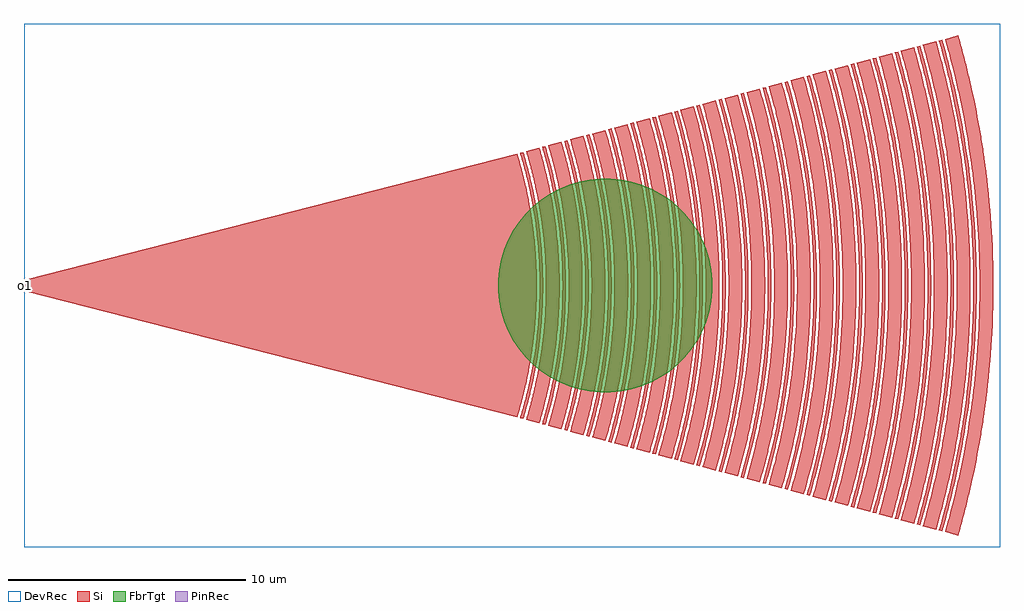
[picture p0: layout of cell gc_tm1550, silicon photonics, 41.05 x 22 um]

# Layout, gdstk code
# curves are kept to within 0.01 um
from math import pi, radians
import gdstk
lib = gdstk.Library(unit=1e-6, precision=1e-09)
def R(c, l, rs):  # rectangles x0, y0, x1, y1
    for r in rs: c.add(gdstk.rectangle(r[:2], r[2:], *l))
def P(c, l, *ps):  # polygons
    for p in ps: c.add(gdstk.Polygon(p, *l))
Si = (1, 0)
PinRec = (1, 10)
DevRec = (68, 0)
FbrTgt = (81, 0)

tm1550_subgc_10degree_ox = lib.new_cell('TM1550_SubGC_10degree_oxide')
P(tm1550_subgc_10degree_ox, Si, [(-20.815,-5.577),(-21.111,-4.487),(-21.352,-3.324),(-21.48,-2.485),(-21.576,-1.584),(-21.627,-0.736),(-21.641,0.057),(-21.781,0.057),(-21.767,-0.741),(-21.72,-1.538),(-21.619,-2.501),(-21.5,-3.29),(-21.274,-4.406),(-20.951,-5.614)],
  [(-21.64,0.113),(-21.627,0.736),(-21.585,1.471),(-21.521,2.148),(-21.425,2.878),(-21.322,3.492),(-21.187,4.157),(-21.015,4.871),(-20.815,5.577),(-20.951,5.614),(-21.151,4.903),(-21.36,4.017),(-21.5,3.29),(-21.619,2.501),(-21.733,1.367),(-21.779,0.285),(-21.781,0.057),(-21.641,0.057)],
  [(-21.069,-5.645),(-21.285,-4.875),(-21.457,-4.151),(-21.581,-3.534),(-21.71,-2.743),(-21.812,-1.889),(-21.863,-1.261),(-21.897,-0.516),(-21.903,0.172),(-22.478,0.172),(-22.473,-0.471),(-22.444,-1.176),(-22.341,-2.348),(-22.159,-3.569),(-21.93,-4.661),(-21.624,-5.794)],
  [(-21.897,0.516),(-21.863,1.261),(-21.812,1.889),(-21.748,2.459),(-21.64,3.195),(-21.407,4.375),(-21.256,4.985),(-21.069,5.645),(-21.624,5.794),(-21.93,4.661),(-22.159,3.569),(-22.341,2.348),(-22.444,1.176),(-22.478,0.172),(-21.903,0.172)],
  [(-21.743,-5.826),(-21.92,-5.202),(-22.077,-4.572),(-22.32,-3.356),(-22.441,-2.537),(-22.538,-1.596),(-22.584,-0.828),(-22.601,0.059),(-22.741,0.059),(-22.724,-0.833),(-22.668,-1.724),(-22.565,-2.671),(-22.439,-3.494),(-22.187,-4.716),(-21.878,-5.862)],
  [(-22.6,0.118),(-22.563,1.242),(-22.507,1.949),(-22.441,2.537),(-22.32,3.356),(-22.154,4.226),(-21.95,5.088),(-21.743,5.826),(-21.878,5.862),(-22.116,5.004),(-22.304,4.194),(-22.459,3.376),(-22.595,2.435),(-22.699,1.309),(-22.741,0.06),(-22.601,0.059)],
  [(-22.552,-6.043),(-22.735,-5.395),(-22.911,-4.682),(-23.062,-3.963),(-23.188,-3.238),(-23.281,-2.57),(-23.378,-1.594),(-23.421,-0.859),(-23.438,-0.184),(-23.433,0.491),(-23.387,1.471),(-23.329,2.144),(-23.233,2.935),(-23.128,3.601),(-22.951,4.503),(-22.766,5.277),(-22.552,6.043),(-21.996,5.894),(-22.16,5.32),(-22.334,4.625),(-22.56,3.513),(-22.654,2.922),(-22.744,2.21),(-22.8,1.614),(-22.844,0.898),(-22.863,0.18),(-22.849,-0.778),(-22.8,-1.614),(-22.702,-2.566),(-22.56,-3.513),(-22.412,-4.275),(-22.25,-4.973),(-21.996,-5.894)],
  [(-22.67,-6.074),(-22.854,-5.423),(-23.031,-4.707),(-23.28,-3.438),(-23.41,-2.522),(-23.505,-1.541),(-23.546,-0.802),(-23.561,0.062),(-23.701,0.062),(-23.686,-0.806),(-23.62,-1.859),(-23.542,-2.599),(-23.398,-3.58),(-23.168,-4.735),(-22.858,-5.933),(-22.805,-6.111)],
  [(-23.56,0.123),(-23.546,0.802),(-23.505,1.541),(-23.395,2.645),(-23.28,3.438),(-23.11,4.346),(-22.885,5.304),(-22.67,6.074),(-22.805,6.111),(-23.037,5.276),(-23.26,4.311),(-23.398,3.58),(-23.542,2.599),(-23.62,1.859),(-23.665,1.24),(-23.701,0.062),(-23.561,0.062)],
  [(-22.923,-6.142),(-23.141,-5.364),(-23.342,-4.516),(-23.497,-3.722),(-23.606,-3.045),(-23.706,-2.241),(-23.767,-1.558),(-23.806,-0.873),(-23.823,0.128),(-24.398,0.128),(-24.391,-0.575),(-24.365,-1.213),(-24.315,-1.914),(-24.243,-2.612),(-24.043,-3.937),(-23.808,-5.061),(-23.479,-6.291)],
  [(-23.823,0.187),(-23.806,0.873),(-23.767,1.558),(-23.706,2.241),(-23.588,3.168),(-23.453,3.967),(-23.288,4.759),(-23.141,5.364),(-22.923,6.142),(-23.479,6.291),(-23.808,5.061),(-23.946,4.438),(-24.098,3.623),(-24.243,2.612),(-24.315,1.914),(-24.365,1.213),(-24.398,0.128),(-23.823,0.128)],
  [(-23.597,-6.323),(-23.788,-5.645),(-23.957,-4.961),(-24.092,-4.335),(-24.24,-3.515),(-24.357,-2.689),(-24.448,-1.795),(-24.503,-0.898),(-24.521,0.064),(-24.661,0.064),(-24.645,-0.839),(-24.593,-1.741),(-24.504,-2.64),(-24.347,-3.726),(-24.094,-4.99),(-23.805,-6.112),(-23.732,-6.359)],
  [(-24.52,0.128),(-24.51,0.706),(-24.472,1.475),(-24.341,2.816),(-24.219,3.641),(-24.04,4.586),(-23.852,5.397),(-23.597,6.323),(-23.732,6.359),(-23.973,5.49),(-24.191,4.549),(-24.347,3.726),(-24.48,2.832),(-24.607,1.548),(-24.64,0.968),(-24.66,0.194),(-24.661,0.064),(-24.521,0.064)],
  [(-23.851,-6.391),(-24.06,-5.643),(-24.257,-4.825),(-24.423,-3.999),(-24.549,-3.232),(-24.655,-2.396),(-24.725,-1.621),(-24.77,-0.778),(-24.783,0.13),(-25.358,0.13),(-25.331,-1.128),(-25.278,-1.923),(-25.22,-2.517),(-25.119,-3.307),(-25.025,-3.896),(-24.762,-5.196),(-24.586,-5.903),(-24.406,-6.54)],
  [(-24.782,0.195),(-24.765,0.908),(-24.725,1.621),(-24.655,2.396),(-24.549,3.232),(-24.423,3.999),(-24.257,4.825),(-24.06,5.643),(-23.851,6.391),(-24.406,6.54),(-24.732,5.325),(-24.89,4.613),(-25.025,3.896),(-25.119,3.307),(-25.22,2.517),(-25.324,1.261),(-25.358,0.13),(-24.783,0.13)],
  [(-24.525,-6.571),(-24.739,-5.802),(-24.912,-5.091),(-25.075,-4.309),(-25.19,-3.652),(-25.327,-2.662),(-25.411,-1.799),(-25.465,-0.867),(-25.481,0.067),(-25.621,0.067),(-25.602,-0.939),(-25.545,-1.876),(-25.442,-2.876),(-25.307,-3.805),(-25.064,-5.054),(-24.753,-6.286),(-24.66,-6.608)],
  [(-25.48,0.133),(-25.465,0.867),(-25.43,1.533),(-25.303,2.861),(-25.19,3.652),(-24.997,4.701),(-24.772,5.674),(-24.525,6.571),(-24.66,6.608),(-24.925,5.64),(-25.148,4.661),(-25.307,3.805),(-25.442,2.876),(-25.57,1.542),(-25.62,0.201),(-25.621,0.067),(-25.481,0.067)],
  [(-24.778,-6.639),(-25.028,-5.732),(-25.213,-4.946),(-25.394,-4.022),(-25.51,-3.291),(-25.603,-2.556),(-25.692,-1.549),(-25.732,-0.741),(-25.743,0.135),(-26.318,0.135),(-26.312,-0.551),(-26.279,-1.377),(-26.16,-2.749),(-25.962,-4.112),(-25.702,-5.393),(-25.537,-6.06),(-25.333,-6.788)],
  [(-25.742,0.202),(-25.727,0.876),(-25.678,1.751),(-25.603,2.556),(-25.491,3.424),(-25.346,4.287),(-25.184,5.078),(-25.028,5.732),(-24.778,6.639),(-25.333,6.788),(-25.537,6.06),(-25.702,5.393),(-25.962,4.112),(-26.16,2.749),(-26.275,1.446),(-26.318,0.135),(-25.743,0.135)],
  [(-25.452,-6.82),(-25.691,-5.955),(-25.837,-5.351),(-25.995,-4.607),(-26.129,-3.858),(-26.257,-2.968),(-26.363,-1.936),(-26.424,-0.9),(-26.441,0.069),(-26.581,0.069),(-26.564,-0.904),(-26.497,-2.016),(-26.396,-2.984),(-26.256,-3.947),(-26.02,-5.176),(-25.702,-6.456),(-25.587,-6.856)],
  [(-26.44,0.138),(-26.429,0.761),(-26.393,1.522),(-26.339,2.212),(-26.257,2.968),(-26.129,3.858),(-25.926,4.946),(-25.708,5.888),(-25.452,6.82),(-25.587,6.856),(-25.861,5.852),(-26.078,4.904),(-26.256,3.947),(-26.396,2.984),(-26.508,1.877),(-26.576,0.487),(-26.581,0.069),(-26.441,0.069)],
  [(-25.705,-6.888),(-25.929,-6.082),(-26.155,-5.131),(-26.318,-4.31),(-26.472,-3.344),(-26.566,-2.581),(-26.655,-1.537),(-26.689,-0.839),(-26.703,0.14),(-27.278,0.14),(-27.249,-1.214),(-27.204,-1.926),(-27.138,-2.637),(-27.052,-3.346),(-26.946,-4.051),(-26.833,-4.683),(-26.673,-5.451),(-26.489,-6.213),(-26.261,-7.037)],
  [(-26.702,0.21),(-26.678,1.118),(-26.619,2.025),(-26.526,2.928),(-26.432,3.621),(-26.318,4.31),(-26.125,5.268),(-25.929,6.082),(-25.705,6.888),(-26.261,7.037),(-26.609,5.729),(-26.898,4.332),(-27.012,3.628),(-27.106,2.921),(-27.229,1.57),(-27.264,0.857),(-27.278,0.14),(-26.703,0.14)],
  [(-26.379,-7.068),(-26.626,-6.172),(-26.793,-5.475),(-26.967,-4.634),(-27.09,-3.928),(-27.228,-2.934),(-27.326,-1.935),(-27.381,-1.004),(-27.401,0.072),(-27.541,0.072),(-27.521,-1.009),(-27.46,-2.017),(-27.35,-3.092),(-27.217,-4.019),(-27.078,-4.799),(-26.946,-5.433),(-26.633,-6.69),(-26.514,-7.104)],
  [(-27.4,0.143),(-27.391,0.717),(-27.351,1.577),(-27.289,2.363),(-27.202,3.147),(-27.067,4.069),(-26.869,5.126),(-26.626,6.172),(-26.379,7.068),(-26.514,7.104),(-26.815,5.994),(-27.021,5.081),(-27.217,4.019),(-27.341,3.163),(-27.471,1.873),(-27.536,0.505),(-27.541,0.072),(-27.401,0.072)],
  [(-26.633,-7.136),(-26.864,-6.301),(-27.097,-5.316),(-27.278,-4.394),(-27.404,-3.608),(-27.529,-2.602),(-27.613,-1.592),(-27.651,-0.797),(-27.663,0.145),(-28.238,0.145),(-28.208,-1.256),(-28.109,-2.583),(-28.034,-3.244),(-27.919,-4.048),(-27.661,-5.427),(-27.442,-6.361),(-27.188,-7.285)],
  [(-27.662,0.217),(-27.637,1.158),(-27.588,1.953),(-27.489,2.962),(-27.383,3.751),(-27.226,4.678),(-27.066,5.457),(-26.864,6.301),(-26.633,7.136),(-27.188,7.285),(-27.405,6.503),(-27.581,5.787),(-27.765,4.921),(-27.871,4.339),(-28.069,2.95),(-28.192,1.551),(-28.238,0.145),(-27.663,0.145)],
  [(-27.306,-7.317),(-27.543,-6.46),(-27.701,-5.812),(-27.871,-5.015),(-28.04,-4.066),(-28.191,-2.963),(-28.289,-1.929),(-28.346,-0.891),(-28.361,0.074),(-28.501,0.074),(-28.483,-0.97),(-28.429,-1.938),(-28.313,-3.126),(-28.167,-4.159),(-27.903,-5.55),(-27.584,-6.852),(-27.442,-7.353)],
  [(-28.36,0.148),(-28.346,0.891),(-28.305,1.706),(-28.231,2.594),(-28.146,3.331),(-27.992,4.358),(-27.797,5.378),(-27.543,6.46),(-27.306,7.317),(-27.442,7.353),(-27.716,6.348),(-27.934,5.405),(-28.155,4.233),(-28.304,3.2),(-28.429,1.938),(-28.496,0.522),(-28.501,0.074),(-28.361,0.074)],
  [(-27.56,-7.385),(-27.817,-6.448),(-28.039,-5.501),(-28.199,-4.694),(-28.377,-3.585),(-28.477,-2.767),(-28.567,-1.722),(-28.613,-0.749),(-28.623,0.15),(-29.198,0.15),(-29.167,-1.299),(-29.065,-2.671),(-28.881,-4.11),(-28.78,-4.713),(-28.587,-5.686),(-28.377,-6.577),(-28.115,-7.533)],
  [(-28.622,0.225),(-28.596,1.199),(-28.551,1.946),(-28.469,2.842),(-28.356,3.733),(-28.199,4.694),(-28.039,5.501),(-27.817,6.448),(-27.56,7.385),(-28.115,7.533),(-28.32,6.799),(-28.486,6.133),(-28.78,4.713),(-28.997,3.278),(-29.087,2.442),(-29.141,1.757),(-29.183,0.917),(-29.198,0.15),(-28.623,0.15)],
  [(-28.234,-7.565),(-28.439,-6.828),(-28.691,-5.785),(-28.845,-5.034),(-28.978,-4.279),(-29.128,-3.216),(-29.229,-2.223),(-29.293,-1.228),(-29.321,0.077),(-29.461,0.077),(-29.445,-0.925),(-29.375,-2.157),(-29.267,-3.231),(-29.104,-4.376),(-28.828,-5.813),(-28.475,-7.232),(-28.369,-7.601)],
  [(-29.32,0.154),(-29.308,0.844),(-29.258,1.841),(-29.187,2.682),(-29.109,3.368),(-28.953,4.43),(-28.755,5.485),(-28.515,6.531),(-28.234,7.565),(-28.369,7.601),(-28.633,6.637),(-28.877,5.587),(-29.079,4.528),(-29.248,3.384),(-29.381,2.08),(-29.454,0.617),(-29.461,0.077),(-29.321,0.077)],
  [(-28.487,-7.633),(-28.733,-6.739),(-28.981,-5.686),(-29.2,-4.546),(-29.34,-3.628),(-29.456,-2.629),(-29.535,-1.625),(-29.57,-0.852),(-29.583,0.155),(-30.158,0.155),(-30.13,-1.263),(-30.094,-1.893),(-30.013,-2.837),(-29.921,-3.621),(-29.819,-4.324),(-29.685,-5.101),(-29.545,-5.796),(-29.293,-6.871),(-29.043,-7.782)],
  [(-29.582,0.232),(-29.562,1.084),(-29.497,2.166),(-29.407,3.091),(-29.285,4.012),(-29.118,5.003),(-28.948,5.837),(-28.733,6.739),(-28.487,7.633),(-29.043,7.782),(-29.293,6.871),(-29.46,6.181),(-29.741,4.79),(-29.951,3.386),(-30.094,1.893),(-30.145,0.868),(-30.158,0.155),(-29.583,0.155)],
  [(-29.161,-7.814),(-29.372,-7.052),(-29.58,-6.206),(-29.761,-5.355),(-29.928,-4.419),(-30.082,-3.321),(-30.199,-2.138),(-30.265,-0.951),(-30.281,0.079),(-30.421,0.079),(-30.399,-1.115),(-30.332,-2.227),(-30.24,-3.178),(-30.079,-4.361),(-29.803,-5.847),(-29.468,-7.238),(-29.296,-7.85)],
  [(-30.28,0.159),(-30.265,0.951),(-30.216,1.901),(-30.135,2.849),(-30.032,3.714),(-29.889,4.654),(-29.682,5.743),(-29.451,6.745),(-29.161,7.814),(-29.296,7.85),(-29.568,6.853),(-29.803,5.847),(-30.014,4.754),(-30.202,3.494),(-30.29,2.703),(-30.356,1.91),(-30.414,0.637),(-30.421,0.079),(-30.281,0.079)],
  [(-29.415,-7.882),(-29.648,-7.036),(-29.872,-6.105),(-30.079,-5.087),(-30.248,-4.063),(-30.388,-2.953),(-30.478,-1.917),(-30.53,-0.879),(-30.543,0.16),(-31.118,0.16),(-31.089,-1.303),(-31.052,-1.954),(-30.977,-2.846),(-30.794,-4.3),(-30.646,-5.183),(-30.504,-5.902),(-30.287,-6.853),(-29.97,-8.03)],
  [(-30.542,0.24),(-30.518,1.199),(-30.448,2.316),(-30.343,3.35),(-30.248,4.063),(-30.079,5.087),(-29.872,6.105),(-29.648,7.036),(-29.415,7.882),(-29.97,8.03),(-30.187,7.247),(-30.363,6.537),(-30.537,5.742),(-30.689,4.943),(-30.818,4.139),(-30.924,3.332),(-31.052,1.954),(-31.102,0.977),(-31.118,0.16),(-30.543,0.16)],
  [(-30.088,-8.062),(-30.347,-7.118),(-30.573,-6.165),(-30.721,-5.445),(-30.903,-4.398),(-31.046,-3.345),(-31.15,-2.287),(-31.215,-1.226),(-31.241,0.082),(-31.381,0.082),(-31.355,-1.232),(-31.296,-2.216),(-31.185,-3.36),(-31.029,-4.499),(-30.762,-5.952),(-30.421,-7.388),(-30.223,-8.098)],
  [(-31.24,0.164),(-31.227,0.9),(-31.185,1.798),(-31.107,2.776),(-31.006,3.67),(-30.824,4.882),(-30.641,5.845),(-30.367,7.039),(-30.088,8.062),(-30.223,8.098),(-30.523,6.991),(-30.762,5.952),(-30.976,4.823),(-31.145,3.686),(-31.283,2.38),(-31.367,0.904),(-31.381,0.082),(-31.241,0.082)],
  [(-30.342,-8.13),(-30.602,-7.178),(-30.865,-6.055),(-31.069,-5.004),(-31.223,-4.027),(-31.352,-2.964),(-31.436,-1.978),(-31.492,-0.825),(-31.503,0.165),(-32.078,0.165),(-32.052,-1.259),(-32.01,-2.014),(-31.933,-2.934),(-31.827,-3.851),(-31.732,-4.516),(-31.577,-5.426),(-31.429,-6.166),(-31.162,-7.309),(-30.897,-8.279)],
  [(-31.498,0.577),(-31.461,1.566),(-31.391,2.553),(-31.307,3.373),(-31.163,4.435),(-31.01,5.329),(-30.83,6.216),(-30.582,7.257),(-30.342,8.13),(-30.897,8.279),(-31.282,6.821),(-31.577,5.426),(-31.816,3.935),(-31.907,3.185),(-31.992,2.265),(-32.052,1.259),(-32.078,0.165),(-31.503,0.165)],
  [(-31.016,-8.311),(-31.239,-7.5),(-31.459,-6.601),(-31.65,-5.695),(-31.827,-4.7),(-32.01,-3.364),(-32.114,-2.274),(-32.181,-1.096),(-32.201,0.084),(-32.341,0.084),(-32.324,-1.016),(-32.26,-2.199),(-32.149,-3.379),(-31.979,-4.637),(-31.836,-5.47),(-31.687,-6.217),(-31.354,-7.614),(-31.151,-8.347)],
  [(-32.2,0.169),(-32.184,1.011),(-32.138,1.937),(-32.079,2.694),(-31.97,3.699),(-31.8,4.866),(-31.584,6.025),(-31.302,7.255),(-31.016,8.311),(-31.151,8.347),(-31.459,7.205),(-31.687,6.217),(-31.896,5.137),(-32.109,3.715),(-32.26,2.199),(-32.329,0.847),(-32.341,0.084),(-32.201,0.084)],
  [(-31.269,-8.379),(-31.558,-7.315),(-31.807,-6.24),(-32.017,-5.157),(-32.175,-4.15),(-32.299,-3.138),(-32.4,-1.953),(-32.449,-0.935),(-32.463,0.17),(-33.038,0.17),(-33.034,-0.519),(-32.999,-1.556),(-32.889,-3.022),(-32.721,-4.395),(-32.599,-5.163),(-32.424,-6.097),(-32.139,-7.361),(-31.824,-8.527)],
  [(-32.459,0.51),(-32.429,1.444),(-32.348,2.631),(-32.231,3.729),(-32.126,4.486),(-31.941,5.575),(-31.753,6.489),(-31.558,7.315),(-31.269,8.379),(-31.824,8.527),(-32.032,7.779),(-32.24,6.941),(-32.539,5.503),(-32.78,3.967),(-32.889,3.022),(-32.956,2.247),(-33.018,1.124),(-33.038,0.17),(-32.463,0.17)],
  [(-31.943,-8.559),(-32.216,-7.556),(-32.436,-6.629),(-32.628,-5.694),(-32.777,-4.84),(-32.955,-3.551),(-33.065,-2.428),(-33.137,-1.215),(-33.161,0.087),(-33.301,0.087),(-33.277,-1.22),(-33.218,-2.265),(-33.104,-3.479),(-32.929,-4.774),(-32.647,-6.316),(-32.309,-7.757),(-32.078,-8.595)],
  [(-33.16,0.174),(-33.137,1.215),(-33.078,2.255),(-33.002,3.12),(-32.89,4.068),(-32.72,5.182),(-32.527,6.205),(-32.279,7.304),(-31.943,8.559),(-32.078,8.595),(-32.373,7.504),(-32.647,6.316),(-32.873,5.118),(-33.052,3.912),(-33.15,3.046),(-33.218,2.265),(-33.286,0.959),(-33.301,0.087),(-33.161,0.087)],
  [(-32.196,-8.627),(-32.493,-7.531),(-32.731,-6.511),(-32.934,-5.482),(-33.115,-4.36),(-33.245,-3.318),(-33.358,-2.011),(-33.406,-1.05),(-33.423,0.175),(-33.998,0.175),(-33.974,-1.246),(-33.938,-1.957),(-33.862,-2.933),(-33.685,-4.435),(-33.517,-5.489),(-33.385,-6.188),(-33.096,-7.489),(-32.752,-8.776)],
  [(-33.419,0.525),(-33.379,1.662),(-33.305,2.709),(-33.216,3.579),(-33.077,4.619),(-32.934,5.482),(-32.731,6.511),(-32.493,7.531),(-32.196,8.627),(-32.752,8.776),(-33.117,7.402),(-33.295,6.623),(-33.453,5.838),(-33.633,4.787),(-33.733,4.082),(-33.893,2.578),(-33.974,1.246),(-33.998,0.175),(-33.423,0.175)],
  [(-32.87,-8.808),(-33.128,-7.862),(-33.377,-6.821),(-33.59,-5.772),(-33.754,-4.804),(-33.899,-3.742),(-34.036,-2.32),(-34.1,-1.161),(-34.121,0.089),(-34.261,0.089),(-34.243,-1.076),(-34.169,-2.419),(-34.059,-3.58),(-33.893,-4.824),(-33.776,-5.531),(-33.589,-6.499),(-33.265,-7.894),(-33.005,-8.844)],
  [(-34.12,0.179),(-34.1,1.161),(-34.06,1.964),(-33.984,2.943),(-33.866,4.008),(-33.698,5.156),(-33.452,6.472),(-33.194,7.602),(-32.87,8.808),(-33.005,8.844),(-33.309,7.721),(-33.571,6.586),(-33.836,5.178),(-34.005,4.025),(-34.162,2.509),(-34.246,0.986),(-34.261,0.089),(-34.121,0.089)],
  [(-33.124,-8.875),(-33.45,-7.661),(-33.691,-6.61),(-33.897,-5.551),(-34.079,-4.396),(-34.237,-3.056),(-34.322,-1.979),(-34.371,-0.9),(-34.383,0.18),(-34.958,0.18),(-34.948,-0.824),(-34.917,-1.647),(-34.818,-3.016),(-34.742,-3.743),(-34.624,-4.651),(-34.48,-5.554),(-34.311,-6.452),(-34.032,-7.701),(-33.679,-9.024)],
  [(-34.379,0.54),(-34.347,1.53),(-34.277,2.607),(-34.16,3.771),(-34.041,4.663),(-33.849,5.816),(-33.653,6.786),(-33.384,7.922),(-33.124,8.875),(-33.679,9.024),(-33.851,8.409),(-34.117,7.345),(-34.432,5.824),(-34.555,5.103),(-34.698,4.107),(-34.85,2.651),(-34.917,1.647),(-34.958,0.18),(-34.383,0.18)],
  [(-33.797,-9.056),(-34.085,-7.995),(-34.337,-6.924),(-34.553,-5.844),(-34.676,-5.121),(-34.864,-3.757),(-34.987,-2.477),(-35.059,-1.194),(-35.081,0.092),(-35.221,0.092),(-35.192,-1.383),(-35.112,-2.671),(-35.003,-3.772),(-34.815,-5.141),(-34.532,-6.681),(-34.153,-8.294),(-33.933,-9.092)],
  [(-35.08,0.184),(-35.068,0.918),(-35.024,1.927),(-34.957,2.843),(-34.831,4.03),(-34.647,5.302),(-34.413,6.565),(-34.13,7.817),(-33.797,9.056),(-33.933,9.092),(-34.288,7.759),(-34.569,6.501),(-34.815,5.141),(-34.97,4.046),(-35.112,2.671),(-35.164,1.935),(-35.208,0.922),(-35.221,0.092),(-35.081,0.092)],
  [(-34.051,-9.124),(-34.341,-8.055),(-34.614,-6.885),(-34.876,-5.524),(-35.044,-4.427),(-35.202,-3.049),(-35.286,-1.942),(-35.333,-0.833),(-35.343,0.185),(-35.918,0.185),(-35.889,-1.41),(-35.836,-2.349),(-35.766,-3.192),(-35.663,-4.126),(-35.548,-4.964),(-35.273,-6.537),(-34.946,-8.004),(-34.606,-9.273)],
  [(-35.339,0.555),(-35.306,1.572),(-35.234,2.68),(-35.125,3.785),(-34.992,4.793),(-34.828,5.797),(-34.614,6.885),(-34.341,8.055),(-34.051,9.124),(-34.606,9.273),(-34.854,8.368),(-35.034,7.639),(-35.235,6.722),(-35.395,5.891),(-35.627,4.406),(-35.728,3.566),(-35.815,2.63),(-35.889,1.41),(-35.918,0.185),(-35.343,0.185)],
  [(-34.725,-9.304),(-35.02,-8.214),(-35.258,-7.205),(-35.465,-6.19),(-35.655,-5.074),(-35.829,-3.766),(-35.937,-2.639),(-36.015,-1.321),(-36.041,0.094),(-36.181,0.094),(-36.162,-1.136),(-36.098,-2.366),(-35.989,-3.592),(-35.808,-5.001),(-35.531,-6.585),(-35.375,-7.326),(-35.156,-8.246),(-34.86,-9.341)],
  [(-36.04,0.189),(-36.022,1.132),(-35.971,2.169),(-35.888,3.203),(-35.773,4.234),(-35.596,5.447),(-35.337,6.837),(-35.043,8.122),(-34.725,9.304),(-34.86,9.341),(-35.202,8.062),(-35.455,6.956),(-35.719,5.561),(-35.912,4.25),(-35.999,3.498),(-36.084,2.555),(-36.168,0.947),(-36.181,0.094),(-36.041,0.094)],
  [(-34.978,-9.372),(-35.321,-8.09),(-35.575,-6.98),(-35.775,-5.955),(-35.957,-4.83),(-36.111,-3.604),(-36.22,-2.374),(-36.281,-1.235),(-36.303,0.19),(-36.878,0.19),(-36.872,-0.676),(-36.844,-1.544),(-36.794,-2.412),(-36.722,-3.277),(-36.628,-4.141),(-36.513,-5.002),(-36.392,-5.764),(-36.217,-6.712),(-35.905,-8.124),(-35.534,-9.521)],
  [(-36.299,0.57),(-36.25,1.9),(-36.167,3.037),(-36.057,4.076),(-35.915,5.111),(-35.706,6.328),(-35.495,7.351),(-35.252,8.366),(-34.978,9.372),(-35.534,9.521),(-35.95,7.937),(-36.29,6.334),(-36.439,5.478),(-36.567,4.619),(-36.74,3.085),(-36.844,1.544),(-36.878,0.19),(-36.303,0.19)],
  [(-35.652,-9.553),(-35.931,-8.527),(-36.178,-7.492),(-36.411,-6.355),(-36.62,-5.114),(-36.784,-3.866),(-36.902,-2.613),(-36.978,-1.259),(-37.001,0.097),(-37.141,0.097),(-37.118,-1.264),(-37.049,-2.526),(-36.923,-3.881),(-36.744,-5.229),(-36.456,-6.855),(-36.091,-8.465),(-35.787,-9.589)],
  [(-37,0.194),(-36.978,1.259),(-36.923,2.323),(-36.825,3.481),(-36.714,4.443),(-36.545,5.592),(-36.299,6.924),(-35.978,8.339),(-35.652,9.553),(-35.787,9.589),(-36.138,8.277),(-36.417,7.046),(-36.635,5.901),(-36.853,4.46),(-37.01,3.01),(-37.069,2.235),(-37.118,1.264),(-37.141,0.097),(-37.001,0.097)],
  [(-35.906,-9.621),(-36.234,-8.398),(-36.497,-7.26),(-36.722,-6.112),(-36.922,-4.861),(-37.066,-3.7),(-37.185,-2.339),(-37.244,-1.17),(-37.263,0.195),(-37.838,0.195),(-37.832,-0.693),(-37.803,-1.584),(-37.752,-2.474),(-37.678,-3.363),(-37.594,-4.15),(-37.464,-5.132),(-37.34,-5.914),(-37.161,-6.887),(-36.841,-8.336),(-36.461,-9.77)],
  [(-37.26,0.488),(-37.233,1.463),(-37.164,2.631),(-37.045,3.894),(-36.88,5.15),(-36.687,6.304),(-36.456,7.45),(-36.21,8.493),(-35.906,9.621),(-36.461,9.77),(-36.696,8.912),(-36.91,8.048),(-37.236,6.499),(-37.506,4.838),(-37.594,4.15),(-37.705,3.067),(-37.803,1.584),(-37.838,0.195),(-37.263,0.195)],
  [(-36.579,-9.801),(-36.865,-8.748),(-37.118,-7.687),(-37.338,-6.617),(-37.556,-5.345),(-37.727,-4.065),(-37.867,-2.581),(-37.941,-1.192),(-37.961,0.099),(-38.101,0.099),(-38.081,-1.197),(-37.999,-2.69),(-37.855,-4.179),(-37.664,-5.562),(-37.476,-6.642),(-37.339,-7.326),(-37.001,-8.781),(-36.714,-9.838)],
  [(-37.96,0.199),(-37.934,1.391),(-37.881,2.383),(-37.8,3.374),(-37.667,4.558),(-37.461,5.933),(-37.222,7.201),(-36.937,8.46),(-36.579,9.801),(-36.714,9.838),(-37.001,8.781),(-37.339,7.326),(-37.616,5.857),(-37.806,4.575),(-37.967,3.088),(-38.027,2.293),(-38.081,1.197),(-38.101,0.099),(-37.961,0.099)],
  [(-36.833,-9.869),(-37.145,-8.712),(-37.459,-7.349),(-37.669,-6.27),(-37.874,-4.986),(-38.032,-3.696),(-38.143,-2.4),(-38.2,-1.301),(-38.223,0.2),(-38.798,0.2),(-38.787,-0.914),(-38.762,-1.625),(-38.71,-2.537),(-38.644,-3.347),(-38.56,-4.155),(-38.444,-5.061),(-38.305,-5.964),(-38.124,-6.963),(-37.801,-8.45),(-37.388,-10.018)],
  [(-38.22,0.5),(-38.183,1.7),(-38.106,2.899),(-37.988,4.093),(-37.845,5.184),(-37.615,6.565),(-37.375,7.74),(-37.145,8.712),(-36.833,9.869),(-37.388,10.018),(-37.629,9.138),(-37.848,8.252),(-38.2,6.564),(-38.458,4.961),(-38.56,4.155),(-38.662,3.145),(-38.762,1.625),(-38.798,0.2),(-38.223,0.2)],
  [(-37.507,-10.05),(-37.799,-8.97),(-38.08,-7.782),(-38.302,-6.685),(-38.491,-5.581),(-38.67,-4.269),(-38.817,-2.748),(-38.897,-1.324),(-38.921,0.102),(-39.061,0.102),(-39.037,-1.329),(-38.957,-2.758),(-38.821,-4.183),(-38.645,-5.5),(-38.363,-7.11),(-38.195,-7.91),(-37.985,-8.804),(-37.642,-10.086)],
  [(-38.92,0.204),(-38.897,1.324),(-38.839,2.444),(-38.766,3.357),(-38.62,4.673),(-38.392,6.184),(-38.144,7.483),(-37.873,8.674),(-37.507,10.05),(-37.642,10.086),(-37.985,8.804),(-38.302,7.41),(-38.581,5.904),(-38.759,4.69),(-38.876,3.675),(-38.941,2.962),(-39.037,1.329),(-39.061,0.102),(-38.921,0.102)],
  [(-37.76,-10.118),(-38.104,-8.832),(-38.422,-7.434),(-38.651,-6.225),(-38.867,-4.807),(-39.018,-3.482),(-39.114,-2.255),(-39.172,-0.923),(-39.183,0.205),(-39.758,0.205),(-39.755,-0.52),(-39.726,-1.561),(-39.675,-2.496),(-39.61,-3.326),(-39.526,-4.154),(-39.41,-5.083),(-39.287,-5.907),(-39.108,-6.931),(-38.786,-8.457),(-38.562,-9.365),(-38.316,-10.267)],
  [(-39.18,0.513),(-39.147,1.641),(-39.063,2.971),(-38.954,4.094),(-38.811,5.213),(-38.598,6.528),(-38.337,7.835),(-38.029,9.13),(-37.76,10.118),(-38.316,10.267),(-38.562,9.365),(-38.786,8.457),(-39.108,6.931),(-39.287,5.907),(-39.41,5.083),(-39.526,4.154),(-39.61,3.326),(-39.675,2.496),(-39.726,1.561),(-39.758,0.205),(-39.183,0.205)],
  [(-38.434,-10.298),(-38.733,-9.192),(-38.998,-8.076),(-39.248,-6.85),(-39.441,-5.719),(-39.648,-4.167),(-39.775,-2.816),(-39.86,-1.253),(-39.881,0.104),(-40.021,0.104),(-40,-1.257),(-39.922,-2.722),(-39.787,-4.182),(-39.611,-5.532),(-39.478,-6.359),(-39.307,-7.285),(-39.112,-8.207),(-38.895,-9.123),(-38.569,-10.335)],
  [(-39.88,0.209),(-39.86,1.253),(-39.804,2.4),(-39.692,3.752),(-39.573,4.789),(-39.34,6.336),(-39.086,7.668),(-38.733,9.192),(-38.434,10.298),(-38.569,10.335),(-38.895,9.123),(-39.223,7.695),(-39.478,6.359),(-39.712,4.806),(-39.81,3.974),(-39.898,3.035),(-39.95,2.304),(-40,1.257),(-40.021,0.104),(-39.881,0.104)],
  [(-38.687,-10.366),(-39.014,-9.151),(-39.365,-7.616),(-39.599,-6.378),(-39.792,-5.133),(-39.943,-3.881),(-40.066,-2.415),(-40.126,-1.156),(-40.143,0.21),(-40.718,0.21),(-40.715,-0.533),(-40.685,-1.599),(-40.633,-2.556),(-40.547,-3.619),(-40.444,-4.572),(-40.317,-5.523),(-40.202,-6.26),(-40.013,-7.308),(-39.675,-8.868),(-39.243,-10.515)],
  [(-40.14,0.525),(-40.096,1.891),(-40.02,3.044),(-39.909,4.195),(-39.732,5.549),(-39.487,6.998),(-39.255,8.129),(-39.014,9.151),(-38.687,10.366),(-39.243,10.515),(-39.495,9.591),(-39.724,8.661),(-40.073,6.994),(-40.202,6.26),(-40.362,5.206),(-40.547,3.619),(-40.665,2.024),(-40.697,1.279),(-40.718,0.21),(-40.143,0.21)],
  [(-20.697,-5.546),(-20.881,-4.898),(-21.042,-4.243),(-21.159,-3.693),(-21.295,-2.917),(-21.386,-2.248),(-21.449,-1.632),(-21.5,-0.845),(-21.518,-0.169),(-21.512,0.507),(-21.471,1.351),(-21.399,2.136),(-21.32,2.75),(-21.201,3.472),(-21.067,4.133),(-20.881,4.898),(-20.697,5.546),(0,0.25),(0,-0.25)])
tm1550_subgc_10degree_ox.add(gdstk.Label('Ref: Yun Wang, Optics Express, 08/2014', (-39,0), layer=10, texttype=0))
tm1550_subgc_10degree_ox.add(gdstk.Label('http://dx.doi.org/10.1364/OE.22.020652', (-39,-2), layer=10, texttype=0))
tm1550_subgc_10degree_ox.add(gdstk.Label('TM 1550 +10 deg', (-39,2), layer=10, texttype=0))

ebeam_gc_tm1550 = lib.new_cell('ebeam_gc_tm1550')
R(ebeam_gc_tm1550, Si, [(-0.001,-0.001,0.001,0.001)])
P(ebeam_gc_tm1550, DevRec, [(-39.6,-11),(-41,-4),(-41,4),(-39.6,11),(0,0.4),(0,-0.4)])
P(ebeam_gc_tm1550, FbrTgt, [(-24.621,-4.5),(-25.061,-4.457),(-25.495,-4.37),(-25.918,-4.242),(-26.326,-4.073),(-26.716,-3.864),(-27.084,-3.619),(-27.426,-3.338),(-27.738,-3.026),(-28.019,-2.684),(-28.264,-2.316),(-28.473,-1.926),(-28.642,-1.518),(-28.77,-1.095),(-28.857,-0.661),(-28.9,-0.221),(-28.9,0.221),(-28.857,0.661),(-28.77,1.095),(-28.642,1.518),(-28.473,1.926),(-28.264,2.316),(-28.019,2.684),(-27.738,3.026),(-27.426,3.338),(-27.084,3.619),(-26.716,3.864),(-26.326,4.073),(-25.918,4.242),(-25.495,4.37),(-25.061,4.457),(-24.621,4.5),(-24.179,4.5),(-23.739,4.457),(-23.305,4.37),(-22.882,4.242),(-22.474,4.073),(-22.084,3.864),(-21.716,3.619),(-21.374,3.338),(-21.062,3.026),(-20.781,2.684),(-20.536,2.316),(-20.327,1.926),(-20.158,1.518),(-20.03,1.095),(-19.943,0.661),(-19.9,0.221),(-19.9,-0.221),(-19.943,-0.661),(-20.03,-1.095),(-20.158,-1.518),(-20.327,-1.926),(-20.536,-2.316),(-20.781,-2.684),(-21.062,-3.026),(-21.374,-3.338),(-21.716,-3.619),(-22.084,-3.864),(-22.474,-4.073),(-22.882,-4.242),(-23.305,-4.37),(-23.739,-4.457),(-24.179,-4.5)])
ebeam_gc_tm1550.add(gdstk.FlexPath([(-0.05,0),(0.05,0)], 0.5, ends="flush", simple_path=True, layer=1, datatype=10))  # PinRec
ebeam_gc_tm1550.add(gdstk.Reference(tm1550_subgc_10degree_ox, (0,0)))
ebeam_gc_tm1550.add(gdstk.Label('opt1', (0,0), layer=1, texttype=10))
ebeam_gc_tm1550.add(gdstk.Label('Component=ebeam_gc_tm1550', (-35,-5), layer=68, texttype=0))
ebeam_gc_tm1550.add(gdstk.Label('Lumerical_INTERCONNECT_library=Design kits/ebeam', (-38,-6), layer=68, texttype=0))

mirror_355ecc08 = lib.new_cell('mirror_355ecc08')
mirror_355ecc08.add(gdstk.Reference(ebeam_gc_tm1550, (0,0), rotation=pi, x_reflection=True))

gc_tm1550 = lib.new_cell('gc_tm1550')
R(gc_tm1550, DevRec, [(-0.05,-11,41,11)])
gc_tm1550.add(gdstk.FlexPath([(0.001,0),(-0.001,0)], 0.5, ends="flush", simple_path=True, layer=1, datatype=10))  # PinRec
gc_tm1550.add(gdstk.Reference(mirror_355ecc08, (0,0)))
gc_tm1550.add(gdstk.Label('o1', (0,0), layer=1, texttype=10))

lib.write_gds('gc_tm1550.gds')
